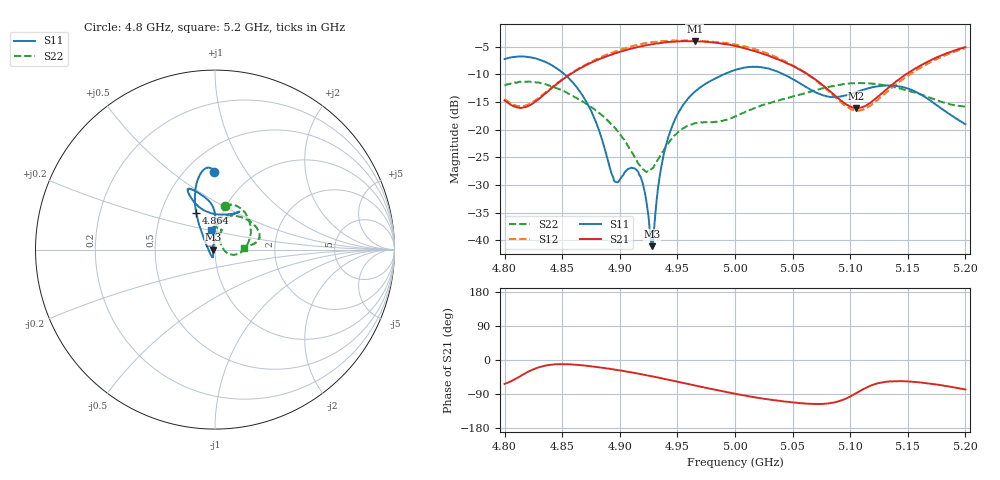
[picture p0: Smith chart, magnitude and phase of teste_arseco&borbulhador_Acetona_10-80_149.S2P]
! Network Analyzer HP8722D
! Hewlett-Packard
! Data name: Linha & Wilkinson
! Saver's name: Rodrigo Anjos
! Comments: Teste da utilização de aquisição
! continua pelo VNA HP8722D
! Time and date: 25/4/2025 16:30
!  Frequency  S11  S21  S12  S22
# HZ  S  MA R 50
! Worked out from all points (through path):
!   401 points, 4.8 GHz to 5.2 GHz, reference 50 ohm
!   highest |S21| = -3.99 dB at 4.965 GHz (marker M1); lowest = -16.1 dB at 5.105 GHz (marker M2)
!   lowest |S11| = -41.1 dB at 4.928 GHz (marker M3), VSWR 1.02, Z = 49.1 + j0.0123 ohm
!   |S11| at or under -10 dB: 4.852 GHz to 4.99 GHz (138.3 MHz wide, 2.81 % of centre); 5.042 GHz to end of sweep
!   |S22| runs from -27.7 to -11.3 dB; largest |S21 - S12| = 1.2
!   S11 on the Smith chart (normalised r, x): 4.8 GHz: 0.68, +0.72; 4.864 GHz: 0.75, +0.33; 5.2 GHz: 0.94, +0.21
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4.8e9  0.4346 90.7  0.1838 -63.0  0.1893 70.3  0.2508 76.8
4.82e9  0.4537 97.0  0.1626 -31.6  0.1678 99.1  0.2715 60.9
4.843e9  0.3712 106.3  0.2475 -11.8  0.251 118.9  0.2408 36.2
4.864e9  0.2314 116.9  0.3516 -13.0  0.3551 121.0  0.1892 11.7
4.867e9  0.2088 118.5  0.3645 -13.9  0.3696 120.5  0.1817 8.3
4.88e9  0.1115 129.2  0.4234 -18.5  0.4346 118.2  0.147 -5.6
4.896e9  0.03376 -165.2  0.4901 -25.6  0.5082 112.9  0.1031 -16.0
4.909e9  0.04485 -109.8  0.5374 -32.1  0.5618 107.4  0.06596 -13.7
4.917e9  0.03889 -105.7  0.5633 -36.7  0.5904 103.2  0.04795 -0.1
4.921e9  0.02901 -110.0  0.5742 -39.0  0.6013 101.2  0.0433 13.6
4.928e9  0.008834 179.2  0.5925 -43.1  0.6182 96.8  0.04458 41.7
4.934e9  0.0338 101.5  0.6031 -46.9  0.6291 93.0  0.05561 58.5
4.939e9  0.06525 94.4  0.6153 -50.0  0.6339 89.8  0.0674 65.8
4.946e9  0.1109 90.5  0.6235 -54.7  0.6386 85.3  0.08526 70.3
4.965e9  0.2192 91.1  0.632 -67.2  0.6356 73.2  0.1143 71.4
5e9  0.3463 109.1  0.5711 -89.2  0.5896 50.5  0.1317 88.1
5.03e9  0.3539 115.1  0.4624 -104.3  0.4789 33.6  0.1734 85.0
5.067e9  0.2264 105.3  0.2981 -115.9  0.295 23.7  0.2223 56.8
5.105e9  0.2187 65.4  0.1567 -87.9  0.1487 55.2  0.2627 25.3
5.134e9  0.2507 57.4  0.2431 -56.6  0.2287 88.8  0.2475 12.2
5.168e9  0.1878 69.7  0.4151 -62.0  0.399 85.0  0.1962 7.1
5.2e9  0.112 101.0  0.5562 -77.8  0.5452 69.9  0.1618 3.7
